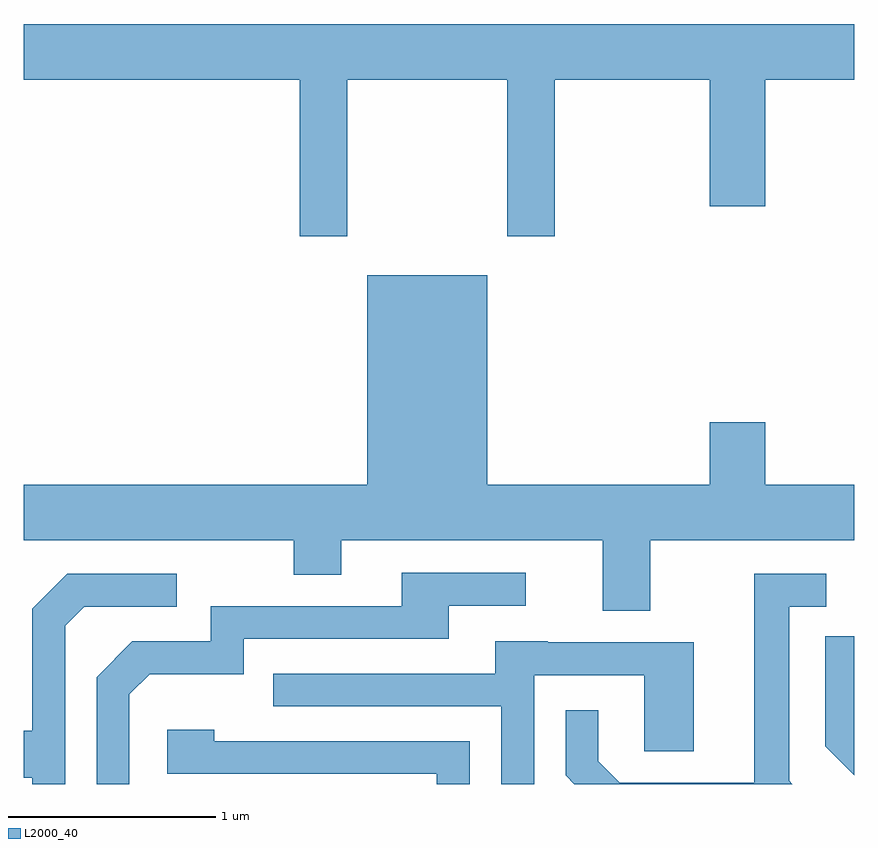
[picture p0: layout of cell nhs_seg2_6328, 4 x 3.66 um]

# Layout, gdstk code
import gdstk
lib = gdstk.Library(unit=1e-6, precision=1e-09)
def P(c, l, *ps):  # polygons
    for p in ps: c.add(gdstk.Polygon(p, *l))
L2000_40 = (2000, 40)

nhs_seg2_6328 = lib.new_cell('nhs_seg2_6328')
P(nhs_seg2_6328, L2000_40, [(373.169,1057.196),(373.941,1057.196),(373.941,1056.441),(374.169,1056.441),(374.169,1057.196),(374.916,1057.196),(374.916,1056.586),(375.184,1056.586),(375.184,1057.196),(375.611,1057.196),(375.611,1057.464),(371.611,1057.464),(371.611,1057.196),(372.941,1057.196),(372.941,1056.441),(373.169,1056.441)],
  [(371.611,1054.976),(372.911,1054.976),(372.911,1054.811),(373.139,1054.811),(373.139,1054.976),(374.401,1054.976),(374.401,1054.636),(374.629,1054.636),(374.629,1054.976),(375.611,1054.976),(375.611,1055.244),(375.184,1055.244),(375.184,1055.544),(374.916,1055.544),(374.916,1055.244),(373.844,1055.244),(373.844,1056.254),(373.266,1056.254),(373.266,1055.244),(371.611,1055.244)],
  [(372.119,1054.234),(372.217,1054.331),(372.669,1054.331),(372.669,1054.501),(373.659,1054.501),(373.659,1054.661),(374.028,1054.661),(374.028,1054.819),(373.431,1054.819),(373.431,1054.659),(372.511,1054.659),(372.511,1054.489),(372.134,1054.489),(371.961,1054.317),(371.961,1053.802),(372.119,1053.802)],
  [(375.299,1053.817),(375.299,1054.656),(375.478,1054.656),(375.478,1054.814),(375.131,1054.814),(375.131,1053.809),(374.482,1053.809),(374.379,1053.912),(374.379,1054.158),(374.221,1054.158),(374.221,1053.844),(374.263,1053.802),(375.314,1053.802)],
  [(371.809,1054.564),(371.902,1054.656),(372.348,1054.656),(372.348,1054.814),(371.819,1054.814),(371.651,1054.647),(371.651,1054.059),(371.611,1054.059),(371.611,1053.831),(371.651,1053.831),(371.651,1053.802),(371.809,1053.802)],
  [(375.611,1054.513),(375.471,1054.513),(375.471,1053.984),(375.611,1053.844)],
  [(374.069,1054.326),(374.601,1054.326),(374.601,1053.961),(374.839,1053.961),(374.839,1054.484),(374.135,1054.484),(374.135,1054.489),(373.881,1054.489),(373.881,1054.334),(372.813,1054.334),(372.813,1054.176),(373.911,1054.176),(373.911,1053.802),(374.069,1053.802)],
  [(373.759,1054.009),(372.529,1054.009),(372.529,1054.064),(372.301,1054.064),(372.301,1053.851),(373.601,1053.851),(373.601,1053.802),(373.759,1053.802)])

lib.write_gds('nhs_seg2_6328.gds')
